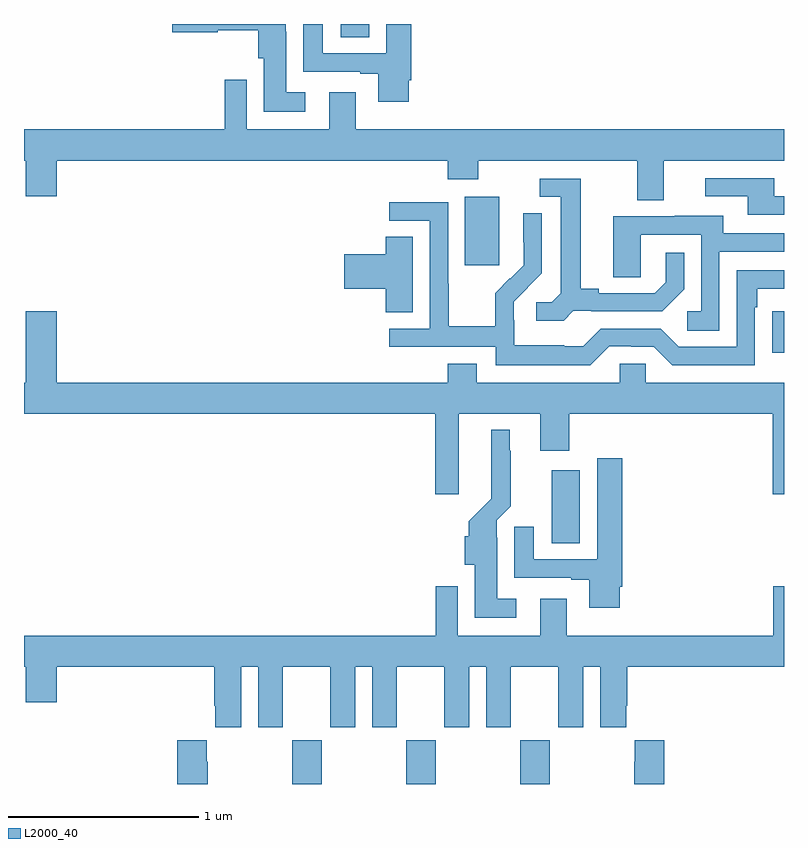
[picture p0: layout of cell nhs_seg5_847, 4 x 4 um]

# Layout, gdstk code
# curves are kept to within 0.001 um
import gdstk
lib = gdstk.Library(unit=1e-6, precision=1e-09)
def R(c, l, rs):  # rectangles x0, y0, x1, y1
    for r in rs: c.add(gdstk.rectangle(r[:2], r[2:], *l))
def A(c, l, x, y, w, h, nx, ny, dx, dy):  # array of equal rectangles
    R(c, l, [(x+i*dx, y+j*dy, x+i*dx+w, y+j*dy+h) for i in range(nx) for j in range(ny)])
def P(c, l, *ps):  # polygons
    for p in ps: c.add(gdstk.Polygon(p, *l))
L2000_40 = (2000, 40)

nhs_seg5_847 = lib.new_cell('nhs_seg5_847')
A(nhs_seg5_847, L2000_40, 166.411, 866.799, 0.155, 0.229, 3, 1, 0.6, 0)
R(nhs_seg5_847, L2000_40, [(167.777,868.066,167.926,868.45), (168.937,869.07,169,869.288), (167.321,869.529,167.5,869.89), (166.667,870.73,166.816,870.799)])
P(nhs_seg5_847, L2000_40, [(166.48,870.439),(166.381,870.439),(166.381,870.758),(166.377,870.758),(166.377,870.799),(165.78,870.799),(165.78,870.755),(166.02,870.755),(166.02,870.767),(166.232,870.767),(166.232,870.618),(166.262,870.618),(166.262,870.338),(166.48,870.338)],
  [(167.026,870.502),(167.039,870.502),(167.039,870.799),(166.907,870.799),(166.907,870.645),(166.573,870.645),(166.573,870.799),(166.469,870.799),(166.469,870.549),(166.769,870.549),(166.769,870.537),(166.865,870.537),(166.865,870.39),(167.026,870.39)],
  [(168.367,870.08),(169,870.08),(169,870.244),(166.747,870.244),(166.747,870.439),(166.607,870.439),(166.607,870.244),(166.173,870.244),(166.173,870.505),(166.057,870.505),(166.057,870.244),(165,870.244),(165,870.08),(165.008,870.08),(165.008,869.892),(165.172,869.892),(165.172,870.08),(167.231,870.08),(167.231,869.981),(167.391,869.981),(167.391,870.08),(168.227,870.08),(168.227,869.872),(168.367,869.872)],
  [(169,869.892),(168.949,869.892),(168.949,869.988),(168.585,869.988),(168.585,869.892),(168.809,869.892),(168.809,869.796),(169,869.796)],
  [(167.892,869.289),(167.986,869.289),(167.986,869.286),(168.358,869.286),(168.474,869.402),(168.474,869.596),(168.377,869.596),(168.377,869.439),(168.32,869.382),(168.025,869.382),(168.025,869.405),(167.929,869.405),(167.929,869.985),(167.715,869.985),(167.715,869.889),(167.825,869.889),(167.825,869.381),(167.778,869.334),(167.697,869.334),(167.697,869.237),(167.84,869.237)],
  [(168.081,869.103),(168.197,869.103),(168.197,869.1),(168.315,869.1),(168.411,869.004),(168.846,869.004),(168.846,869.309),(168.859,869.309),(168.859,869.406),(169,869.406),(169,869.502),(168.75,869.502),(168.75,869.1),(168.447,869.1),(168.351,869.196),(168.036,869.196),(167.943,869.103),(167.843,869.103),(167.843,869.107),(167.58,869.107),(167.58,869.241),(167.578,869.241),(167.578,869.338),(167.724,869.486),(167.724,869.804),(167.628,869.804),(167.628,869.65),(167.63,869.65),(167.63,869.528),(167.559,869.457),(167.556,869.46),(167.479,869.383),(167.479,869.209),(167.235,869.209),(167.235,869.432),(167.232,869.432),(167.232,869.862),(166.923,869.862),(166.923,869.763),(167.136,869.763),(167.136,869.196),(166.923,869.196),(166.923,869.1),(167.484,869.1),(167.484,869.003),(167.981,869.003)],
  [(168.66,869.601),(169,869.601),(169,869.697),(168.679,869.697),(168.679,869.791),(168.425,869.791),(168.425,869.787),(168.101,869.787),(168.101,869.467),(168.246,869.467),(168.246,869.691),(168.564,869.691),(168.564,869.286),(168.492,869.286),(168.492,869.185),(168.66,869.185)],
  [(167.047,869.678),(166.904,869.678),(166.904,869.588),(166.686,869.588),(166.686,869.405),(166.904,869.405),(166.904,869.281),(167.047,869.281)],
  [(167.287,868.748),(167.717,868.748),(167.717,868.554),(167.87,868.554),(167.87,868.748),(168.941,868.748),(168.941,868.323),(169,868.323),(169,868.912),(168.273,868.912),(168.273,869.01),(168.135,869.01),(168.135,868.912),(167.383,868.912),(167.383,869.011),(167.231,869.011),(167.231,868.912),(165.172,868.912),(165.172,869.287),(165.008,869.287),(165.008,868.912),(165,868.912),(165,868.748),(167.165,868.748),(167.165,868.323),(167.287,868.323)],
  [(167.59,867.775),(167.491,867.775),(167.491,868.094),(167.487,868.094),(167.487,868.188),(167.561,868.262),(167.561,868.553),(167.557,868.553),(167.557,868.663),(167.459,868.663),(167.46,868.3),(167.342,868.182),(167.342,868.103),(167.321,868.103),(167.321,867.954),(167.372,867.954),(167.372,867.674),(167.59,867.674)],
  [(168.136,867.838),(168.149,867.838),(168.149,868.513),(168.017,868.513),(168.017,867.981),(167.683,867.981),(167.683,868.153),(167.579,868.153),(167.579,867.885),(167.879,867.885),(167.879,867.873),(167.975,867.873),(167.975,867.726),(168.136,867.726)],
  [(167.283,867.841),(167.167,867.841),(167.167,867.58),(165,867.58),(165,867.416),(165.008,867.416),(165.008,867.228),(165.172,867.228),(165.172,867.416),(166.001,867.416),(166.001,867.211),(166.007,867.211),(166.007,867.099),(166.144,867.099),(166.144,867.416),(166.232,867.416),(166.232,867.099),(166.363,867.099),(166.363,867.416),(166.613,867.416),(166.613,867.099),(166.744,867.099),(166.744,867.416),(166.832,867.416),(166.832,867.099),(166.963,867.099),(166.963,867.416),(167.213,867.416),(167.213,867.099),(167.344,867.099),(167.344,867.416),(167.432,867.416),(167.432,867.099),(167.563,867.099),(167.563,867.416),(167.813,867.416),(167.813,867.099),(167.944,867.099),(167.944,867.416),(168.032,867.416),(168.032,867.099),(168.169,867.099),(168.169,867.211),(168.176,867.211),(168.176,867.416),(169,867.416),(169,867.841),(168.943,867.841),(168.943,867.58),(167.857,867.58),(167.857,867.775),(167.717,867.775),(167.717,867.58),(167.283,867.58)],
  [(165.966,866.915),(165.961,866.915),(165.961,867.028),(165.806,867.028),(165.806,866.799),(165.966,866.799)],
  [(168.371,867.028),(168.215,867.028),(168.215,866.915),(168.211,866.915),(168.211,866.799),(168.371,866.799)])

lib.write_gds('nhs_seg5_847.gds')
